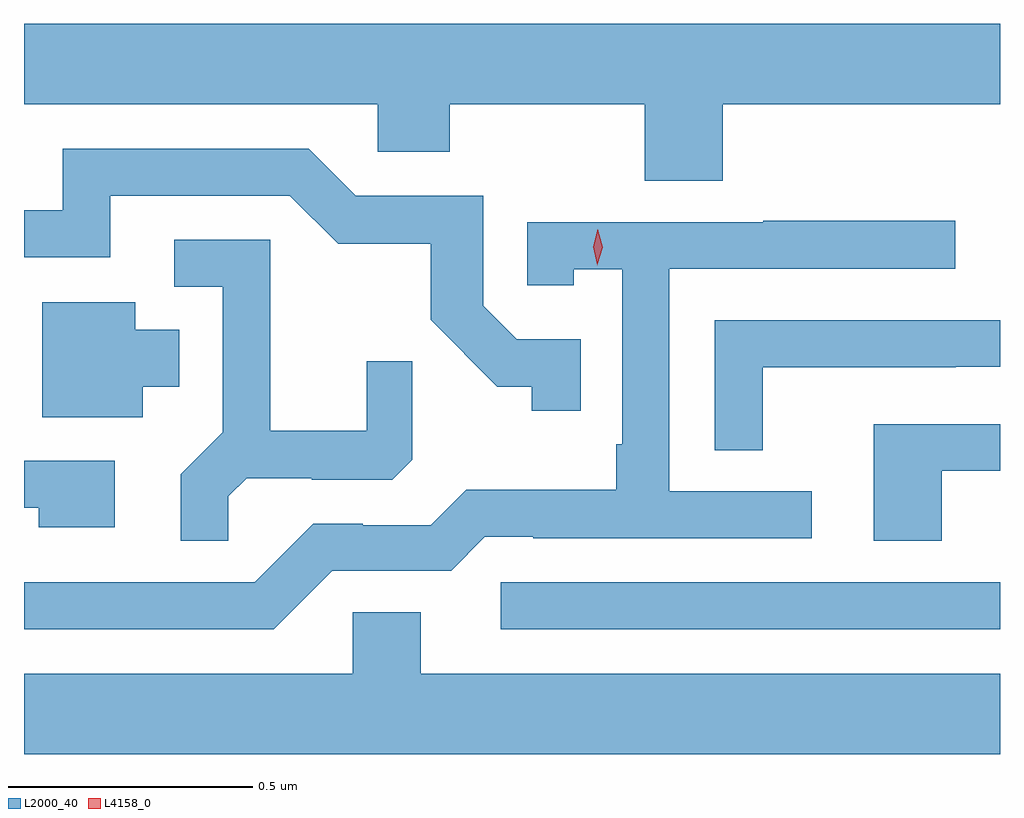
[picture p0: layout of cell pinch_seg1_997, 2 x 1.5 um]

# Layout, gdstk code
import gdstk
lib = gdstk.Library(unit=1e-6, precision=1e-09)
def R(c, l, rs):  # rectangles x0, y0, x1, y1
    for r in rs: c.add(gdstk.rectangle(r[:2], r[2:], *l))
def P(c, l, *ps):  # polygons
    for p in ps: c.add(gdstk.Polygon(p, *l))
L2000_40 = (2000, 40)
L4158_0 = (4158, 0)

pinch_seg1_997 = lib.new_cell('pinch_seg1_997')
R(pinch_seg1_997, L2000_40, [(267.267,578.628,268.29,578.724)])
P(pinch_seg1_997, L2000_40, [(267.722,579.704),(268.29,579.704),(268.29,579.868),(266.29,579.868),(266.29,579.704),(267.015,579.704),(267.015,579.606),(267.162,579.606),(267.162,579.704),(267.562,579.704),(267.562,579.547),(267.722,579.547)],
  [(267.431,579.222),(267.3,579.222),(267.231,579.291),(267.231,579.516),(266.97,579.516),(266.874,579.612),(266.369,579.612),(266.369,579.486),(266.29,579.486),(266.29,579.39),(266.467,579.39),(266.467,579.516),(266.835,579.516),(266.934,579.418),(267.123,579.418),(267.123,579.262),(267.26,579.125),(267.33,579.125),(267.33,579.075),(267.431,579.075)],
  [(266.922,578.748),(267.165,578.748),(267.234,578.817),(267.334,578.817),(267.334,578.814),(267.904,578.814),(267.904,578.91),(267.612,578.91),(267.612,579.366),(268.198,579.366),(268.198,579.465),(267.805,579.465),(267.805,579.462),(267.321,579.462),(267.321,579.333),(267.417,579.333),(267.417,579.365),(267.516,579.365),(267.516,579.007),(267.504,579.007),(267.504,578.914),(267.196,578.914),(267.123,578.841),(266.984,578.841),(266.984,578.844),(266.883,578.844),(266.763,578.724),(266.29,578.724),(266.29,578.628),(266.802,578.628)],
  [(266.709,578.9),(266.746,578.937),(266.88,578.937),(266.88,578.934),(267.045,578.934),(267.086,578.975),(267.086,579.177),(266.992,579.177),(266.992,579.034),(266.795,579.034),(266.795,579.426),(266.598,579.426),(266.598,579.33),(266.697,579.33),(266.697,579.031),(266.611,578.945),(266.611,578.809),(266.709,578.809)],
  [(266.533,579.125),(266.608,579.125),(266.608,579.241),(266.518,579.241),(266.518,579.298),(266.327,579.298),(266.327,579.062),(266.533,579.062)],
  [(267.804,579.165),(268.199,579.165),(268.199,579.166),(268.29,579.166),(268.29,579.261),(267.705,579.261),(267.705,578.995),(267.804,578.995)],
  [(268.171,578.952),(268.29,578.952),(268.29,579.048),(268.031,579.048),(268.031,578.809),(268.171,578.809)],
  [(266.476,578.973),(266.29,578.973),(266.29,578.877),(266.32,578.877),(266.32,578.837),(266.476,578.837)],
  [(268.29,578.536),(267.103,578.536),(267.103,578.663),(266.964,578.663),(266.964,578.536),(266.29,578.536),(266.29,578.372),(268.29,578.372)])
P(pinch_seg1_997, L4158_0, [(267.465,579.374),(267.465,579.375),(267.456,579.411),(267.466,579.447),(267.466,579.447),(267.466,579.447),(267.476,579.41),(267.465,579.375)])

lib.write_gds('pinch_seg1_997.gds')
